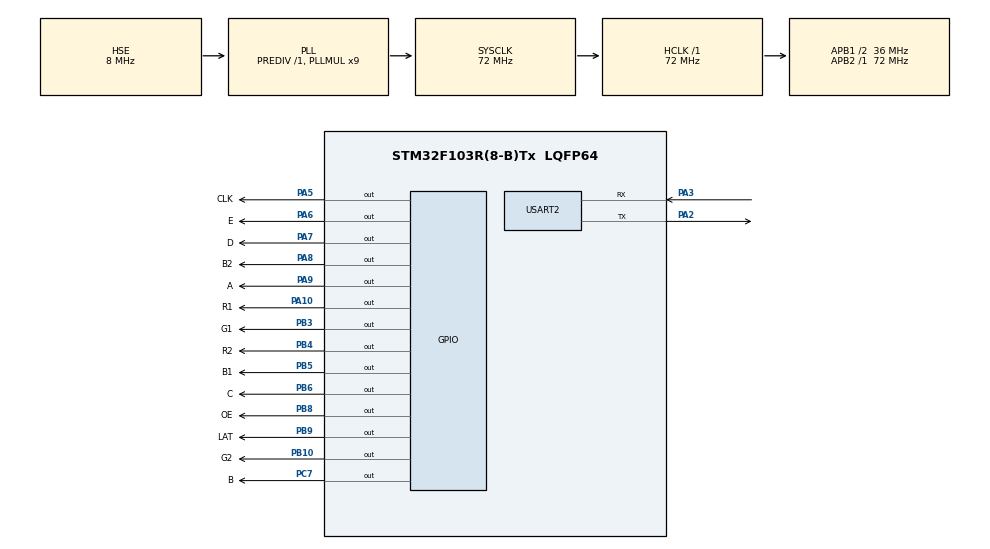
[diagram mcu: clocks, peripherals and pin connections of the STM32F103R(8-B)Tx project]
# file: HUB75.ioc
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Mcu.Family=STM32F1
Mcu.Name=STM32F103R(8-B)Tx
Mcu.Package=LQFP64
NVIC.PriorityGroup=NVIC_PRIORITYGROUP_4
NVIC.TIM1_UP_IRQn=true\:0\:0\:false\:false\:true\:true\:true\:true
PA10.GPIO_Label=R1
PA10.GPIO_Speed=GPIO_SPEED_FREQ_HIGH
PA10.Signal=GPIO_Output
PA13.Mode=Serial_Wire
PA13.Signal=SYS_JTMS-SWDIO
PA14.Mode=Serial_Wire
PA14.Signal=SYS_JTCK-SWCLK
PA2.Mode=Asynchronous
PA2.Signal=USART2_TX
PA3.Mode=Asynchronous
PA3.Signal=USART2_RX
PA5.GPIO_Label=CLK
PA5.GPIO_ModeDefaultOutputPP=GPIO_MODE_OUTPUT_PP
PA5.GPIO_PuPd=GPIO_PULLUP
PA5.GPIO_Speed=GPIO_SPEED_FREQ_HIGH
PA5.PinState=GPIO_PIN_SET
PA5.Signal=GPIO_Output
PA6.GPIO_Label=E
PA6.GPIO_ModeDefaultOutputPP=GPIO_MODE_OUTPUT_PP
PA6.GPIO_PuPd=GPIO_PULLUP
PA6.GPIO_Speed=GPIO_SPEED_FREQ_HIGH
PA6.PinState=GPIO_PIN_RESET
PA6.Signal=GPIO_Output
PA7.GPIO_Label=D
PA7.GPIO_PuPd=GPIO_PULLUP
PA7.GPIO_Speed=GPIO_SPEED_FREQ_HIGH
PA7.Signal=GPIO_Output
PA8.GPIO_Label=B2
PA8.GPIO_ModeDefaultOutputPP=GPIO_MODE_OUTPUT_PP
PA8.GPIO_PuPd=GPIO_PULLUP
PA8.GPIO_Speed=GPIO_SPEED_FREQ_HIGH
PA8.PinState=GPIO_PIN_RESET
PA8.Signal=GPIO_Output
PA9.GPIO_Label=A
PA9.GPIO_PuPd=GPIO_PULLUP
PA9.GPIO_Speed=GPIO_SPEED_FREQ_HIGH
PA9.Signal=GPIO_Output
PB10.GPIO_Label=G2
PB10.GPIO_PuPd=GPIO_PULLUP
PB10.GPIO_Speed=GPIO_SPEED_FREQ_HIGH
PB10.Signal=GPIO_Output
PB3.GPIO_Label=G1
PB3.GPIO_Speed=GPIO_SPEED_FREQ_HIGH
PB3.Signal=GPIO_Output
PB4.GPIO_Label=R2
PB4.GPIO_Speed=GPIO_SPEED_FREQ_HIGH
PB4.Signal=GPIO_Output
PB5.GPIO_Label=B1
PB5.GPIO_Speed=GPIO_SPEED_FREQ_HIGH
PB5.Signal=GPIO_Output
PB6.GPIO_Label=C
PB6.GPIO_PuPd=GPIO_PULLUP
PB6.GPIO_Speed=GPIO_SPEED_FREQ_HIGH
PB6.Signal=GPIO_Output
PB8.GPIO_Label=OE
PB8.GPIO_PuPd=GPIO_PULLUP
PB8.GPIO_Speed=GPIO_SPEED_FREQ_HIGH
PB8.PinState=GPIO_PIN_SET
PB8.Signal=GPIO_Output
PB9.GPIO_Label=LAT
PB9.GPIO_ModeDefaultOutputPP=GPIO_MODE_OUTPUT_PP
PB9.GPIO_PuPd=GPIO_PULLUP
PB9.GPIO_Speed=GPIO_SPEED_FREQ_HIGH
PB9.PinState=GPIO_PIN_RESET
PB9.Signal=GPIO_Output
PC7.GPIO_Label=B
PC7.GPIO_PuPd=GPIO_PULLUP
PC7.GPIO_Speed=GPIO_SPEED_FREQ_HIGH
PC7.Signal=GPIO_Output
PD0-OSC_IN.Mode=HSE-External-Oscillator
PD0-OSC_IN.Signal=RCC_OSC_IN
PD1-OSC_OUT.Mode=HSE-External-Oscillator
PD1-OSC_OUT.Signal=RCC_OSC_OUT
ProjectManager.HeapSize=0x2000
ProjectManager.StackSize=0x800
ProjectManager.TargetToolchain=MDK-ARM V5.32
RCC.AHBFreq_Value=72000000
RCC.APB1CLKDivider=RCC_HCLK_DIV2
RCC.APB1Freq_Value=36000000
RCC.APB1TimFreq_Value=72000000
RCC.APB2Freq_Value=72000000
RCC.APB2TimFreq_Value=72000000
RCC.HCLKFreq_Value=72000000
RCC.PLLMUL=RCC_PLL_MUL9
RCC.PLLSourceVirtual=RCC_PLLSOURCE_HSE
RCC.SYSCLKFreq_VALUE=72000000
RCC.SYSCLKSource=RCC_SYSCLKSOURCE_PLLCLK
RCC.USBFreq_Value=72000000
TIM1.AutoReloadPreload=TIM_AUTORELOAD_PRELOAD_ENABLE
TIM1.Period=4
TIM1.Prescaler=499
USART2.VirtualMode=VM_ASYNC
VP_TIM1_VS_ClockSourceINT.Mode=Internal
board=custom

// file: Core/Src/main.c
/* USER CODE BEGIN Header */
/**
  ******************************************************************************
  * @file           : main.c
  * @brief          : Main program body
  ******************************************************************************
  * @attention
  *
  * Copyright (c) 2023 STMicroelectronics.
  * All rights reserved.
  *
  * This software is licensed under terms that can be found in the LICENSE file
  * in the root directory of this software component.
  * If no LICENSE file comes with this software, it is provided AS-IS.
  *
  ******************************************************************************
  */
/* USER CODE END Header */
#include "main.h"
#include "tim.h"
#include "usart.h"
#include "gpio.h"

/* USER CODE BEGIN Includes */
#include "Driver_RGBMatrix.h"
#include "GUI_Paint.h"
#include <stdbool.h>
/* USER CODE END Includes */

/* USER CODE BEGIN PV */
static UWORD gui_framebuffer[HUB75_PANEL_WIDTH * HUB75_PANEL_HEIGHT];
/* USER CODE END PV */

void SystemClock_Config(void);

/* USER CODE BEGIN 0 */

static UWORD App_Wheel(UWORD value)
{
  UWORD index = (UWORD)(value % 96U);
  UWORD section = (UWORD)(index / 32U);
  UWORD offset = (UWORD)(index % 32U);
  UWORD r = 0U;
  UWORD g = 0U;
  UWORD b = 0U;

  switch (section)
  {
    case 0U:
      r = (UWORD)(31U - offset);
      g = offset;
      break;
    case 1U:
      g = (UWORD)(31U - offset);
      b = offset;
      break;
    default:
      b = (UWORD)(31U - offset);
      r = offset;
      break;
  }

  return (UWORD)((r << 11) | ((g << 1) << 5) | b);
}

static void App_DrawPage(UWORD page)
{
  Paint_Clear(BLACK);

  switch (page)
  {
    case 0U:
      Paint_DrawPoint(44, 9, WHITE, DOT_PIXEL_1X1, DOT_STYLE_DFT);
      Paint_DrawPoint(47, 8, WHITE, DOT_PIXEL_2X2, DOT_STYLE_DFT);
      Paint_DrawPoint(52, 7, WHITE, DOT_PIXEL_3X3, DOT_STYLE_DFT);
      Paint_DrawPoint(59, 6, WHITE, DOT_PIXEL_4X4, DOT_STYLE_DFT);

      Paint_DrawLine(20, 11, 20, 31, App_Wheel(1), DOT_PIXEL_1X1, LINE_STYLE_SOLID);
      Paint_DrawLine(10, 21, 30, 21, App_Wheel(31), DOT_PIXEL_1X1, LINE_STYLE_SOLID);
      Paint_DrawCircle(20, 21, 10, App_Wheel(14), DOT_PIXEL_1X1, DRAW_FILL_EMPTY);
      Paint_DrawPoint(20, 21, (UWORD)(App_Wheel(1) | App_Wheel(31)), DOT_PIXEL_1X1, DOT_FILL_RIGHTUP);

      Paint_DrawLine(44, 11, 44, 31, App_Wheel(16), DOT_PIXEL_1X1, LINE_STYLE_SOLID);
      Paint_DrawLine(34, 21, 54, 21, App_Wheel(63), DOT_PIXEL_1X1, LINE_STYLE_SOLID);
      Paint_DrawCircle(44, 21, 10, App_Wheel(54), DOT_PIXEL_1X1, DRAW_FILL_EMPTY);
      Paint_DrawPoint(44, 21, (UWORD)(App_Wheel(16) | App_Wheel(63)), DOT_PIXEL_1X1, DOT_FILL_RIGHTUP);

      Paint_DrawRectangle(1, 1, 64, 32, App_Wheel(6), DOT_PIXEL_1X1, DRAW_FILL_EMPTY);
      break;
    case 1U:
      Paint_DrawString_EN(5, 0, "Hello", &Font16, BLACK, YELLOW);
      Paint_DrawString_EN(5, 15, "world", &Font12, MAGENTA, BLACK);
      break;
    default:
      Paint_DrawString_EN(1, 0, "Page3", &Font12, App_Wheel(35), BLACK);
      Paint_DrawNum(1, 20, 23.456789, &Font12, 2, App_Wheel(90), BLACK);
      break;
  }

   HUB75_LoadRGB565Frame(gui_framebuffer, HUB75_PANEL_WIDTH, HUB75_PANEL_HEIGHT);
}

static void App_WaitMsWithRefresh(uint32_t wait_ms)
{
  uint32_t t0 = HAL_GetTick();
  while ((HAL_GetTick() - t0) < wait_ms)
  {
    HUB75_Display();
  }
}

void App_DrawGuiScreen()
{
  Paint_NewImage(gui_framebuffer, HUB75_PANEL_WIDTH, HUB75_PANEL_HEIGHT, ROTATE_0, BLACK);
  Paint_SelectImage(gui_framebuffer);
  App_DrawPage(0U);
}

/* USER CODE END 0 */

int main(void)
{

  /* MCU Configuration--------------------------------------------------------*/

  /* Reset of all peripherals, Initializes the Flash interface and the Systick. */
  HAL_Init();

  /* Configure the system clock */
  SystemClock_Config();

  /* Initialize all configured peripherals */
  MX_GPIO_Init();
  MX_USART2_UART_Init();
  MX_TIM1_Init();
  /* USER CODE BEGIN 2 */

  DWT_Init();
  HUB75_Init();
  HUB75_SetBrightness(255); // the parameter is 0-255，the higher the number，the brighter the screen is
  HUB75_SetRefreshRate(1); // the parameter is 1-4，the higher the number，the lower the refresh rate is
  App_DrawGuiScreen();

  /* USER CODE END 2 */

  /* Infinite loop */
  /* USER CODE BEGIN WHILE */
  UWORD page = 0U;
  while (true)
  {
    App_WaitMsWithRefresh(1000U);
    page = (UWORD)((page + 1U) % 3U);
    App_DrawPage(page);
    /* USER CODE END WHILE */

  }
}

void SystemClock_Config(void)
{
  RCC_OscInitTypeDef RCC_OscInitStruct = {0};
  RCC_ClkInitTypeDef RCC_ClkInitStruct = {0};

  /** Initializes the RCC Oscillators according to the specified parameters
  * in the RCC_OscInitTypeDef structure.
  */
  RCC_OscInitStruct.OscillatorType = RCC_OSCILLATORTYPE_HSE;
  RCC_OscInitStruct.HSEState = RCC_HSE_ON;
  RCC_OscInitStruct.HSEPredivValue = RCC_HSE_PREDIV_DIV1;
  RCC_OscInitStruct.HSIState = RCC_HSI_ON;
  RCC_OscInitStruct.PLL.PLLState = RCC_PLL_ON;
  RCC_OscInitStruct.PLL.PLLSource = RCC_PLLSOURCE_HSE;
  RCC_OscInitStruct.PLL.PLLMUL = RCC_PLL_MUL9;
  if (HAL_RCC_OscConfig(&RCC_OscInitStruct) != HAL_OK)
  {
    Error_Handler();
  }

  /** Initializes the CPU, AHB and APB buses clocks
  */
  RCC_ClkInitStruct.ClockType = RCC_CLOCKTYPE_HCLK|RCC_CLOCKTYPE_SYSCLK
                              |RCC_CLOCKTYPE_PCLK1|RCC_CLOCKTYPE_PCLK2;
  RCC_ClkInitStruct.SYSCLKSource = RCC_SYSCLKSOURCE_PLLCLK;
  RCC_ClkInitStruct.AHBCLKDivider = RCC_SYSCLK_DIV1;
  RCC_ClkInitStruct.APB1CLKDivider = RCC_HCLK_DIV2;
  RCC_ClkInitStruct.APB2CLKDivider = RCC_HCLK_DIV1;

  if (HAL_RCC_ClockConfig(&RCC_ClkInitStruct, FLASH_LATENCY_2) != HAL_OK)
  {
    Error_Handler();
  }
}

void Error_Handler(void)
{
  __disable_irq();
  while (1)
  {
  }
}
